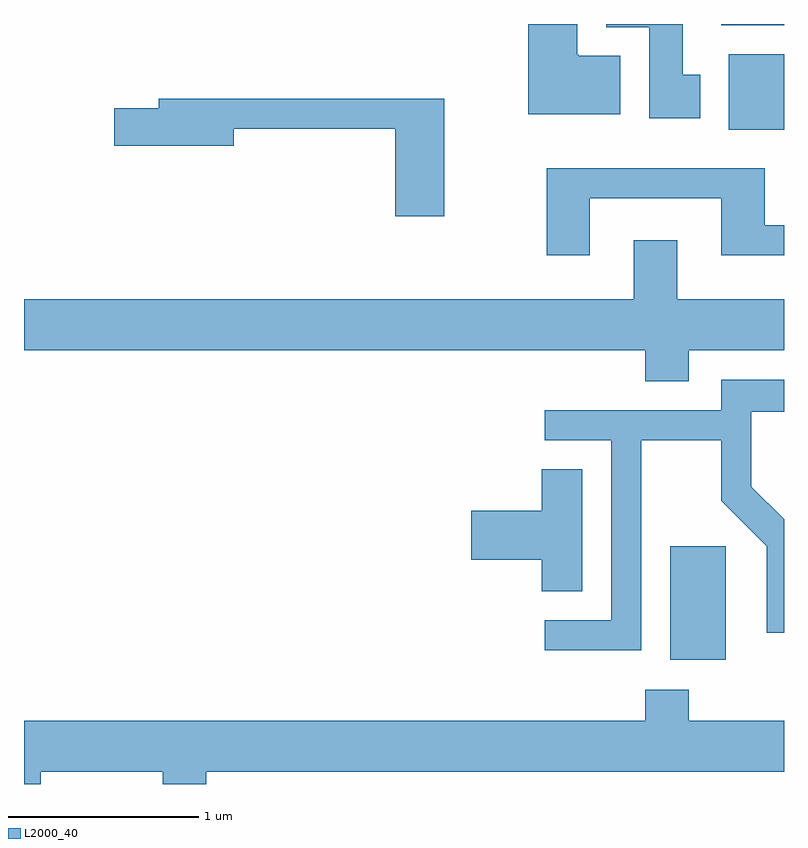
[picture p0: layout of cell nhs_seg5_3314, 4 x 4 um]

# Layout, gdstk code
import gdstk
lib = gdstk.Library(unit=1e-6, precision=1e-09)
def R(c, l, rs):  # rectangles x0, y0, x1, y1
    for r in rs: c.add(gdstk.rectangle(r[:2], r[2:], *l))
def P(c, l, *ps):  # polygons
    for p in ps: c.add(gdstk.Polygon(p, *l))
L2000_40 = (2000, 40)

nhs_seg5_3314 = lib.new_cell('nhs_seg5_3314')
R(nhs_seg5_3314, L2000_40, [(287.011,1450.726,287.304,1451.324), (287.321,1453.516,287.611,1453.914), (287.281,1454.066,287.611,1454.072)])
P(nhs_seg5_3314, L2000_40, [(287.169,1453.804),(287.079,1453.804),(287.079,1454.072),(286.676,1454.072),(286.676,1454.056),(286.901,1454.056),(286.901,1453.576),(287.169,1453.576)],
  [(286.749,1453.904),(286.53,1453.904),(286.53,1453.91),(286.524,1453.91),(286.524,1454.072),(286.266,1454.072),(286.266,1453.596),(286.749,1453.596)],
  [(285.824,1453.679),(284.321,1453.679),(284.321,1453.629),(284.086,1453.629),(284.086,1453.431),(284.714,1453.431),(284.714,1453.521),(285.566,1453.521),(285.566,1453.061),(285.824,1453.061)],
  [(286.589,1453.156),(287.281,1453.156),(287.281,1452.856),(287.611,1452.856),(287.611,1453.014),(287.509,1453.014),(287.509,1453.314),(286.361,1453.314),(286.361,1452.856),(286.589,1452.856)],
  [(287.109,1452.356),(287.611,1452.356),(287.611,1452.624),(287.049,1452.624),(287.049,1452.934),(286.821,1452.934),(286.821,1452.624),(283.611,1452.624),(283.611,1452.356),(286.881,1452.356),(286.881,1452.191),(287.109,1452.191)],
  [(286.859,1451.881),(287.281,1451.881),(287.281,1451.564),(287.521,1451.324),(287.521,1450.868),(287.611,1450.868),(287.611,1451.465),(287.439,1451.637),(287.439,1452.031),(287.611,1452.031),(287.611,1452.199),(287.281,1452.199),(287.281,1452.039),(286.353,1452.039),(286.353,1451.881),(286.701,1451.881),(286.701,1450.934),(286.353,1450.934),(286.353,1450.776),(286.859,1450.776)],
  [(286.549,1451.729),(286.336,1451.729),(286.336,1451.509),(285.966,1451.509),(285.966,1451.251),(286.336,1451.251),(286.336,1451.086),(286.549,1451.086)],
  [(283.611,1450.072),(283.699,1450.072),(283.699,1450.136),(284.341,1450.136),(284.341,1450.072),(284.569,1450.072),(284.569,1450.136),(287.611,1450.136),(287.611,1450.404),(287.109,1450.404),(287.109,1450.569),(286.881,1450.569),(286.881,1450.404),(283.611,1450.404)])

lib.write_gds('nhs_seg5_3314.gds')
